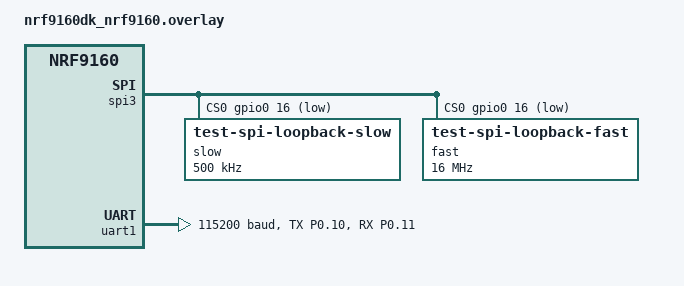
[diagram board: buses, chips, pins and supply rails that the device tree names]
/*
 * Copyright (c) 2022 Nordic Semiconductor ASA
 *
 * SPDX-License-Identifier: Apache-2.0
 */

&spi3 {
	overrun-character = <0x00>;
	cs-gpios = <&gpio0 16 GPIO_ACTIVE_LOW>;
	zephyr,pm-device-runtime-auto;

	slow@0 {
		compatible = "test-spi-loopback-slow";
		reg = <0>;
		spi-max-frequency = <500000>;
	};

	fast@0 {
		compatible = "test-spi-loopback-fast";
		reg = <0>;
		spi-max-frequency = <16000000>;
	};
};

&pinctrl {
	uart1_default_alt: uart1_default_alt {
		group1 {
			psels = <NRF_PSEL(UART_TX, 0, 10)>,
				<NRF_PSEL(UART_RX, 0, 11)>;
		};
	};
	uart1_sleep_alt: uart1_sleep_alt {
		group1 {
			psels = <NRF_PSEL(UART_TX, 0, 10)>,
				<NRF_PSEL(UART_RX, 0, 11)>;
			low-power-enable;
		};
	};
};

dut: &uart1 {
	current-speed = <115200>;
	compatible = "nordic,nrf-uarte";
	status = "okay";
	pinctrl-0 = <&uart1_default_alt>;
	pinctrl-1 = <&uart1_sleep_alt>;
	pinctrl-names = "default", "sleep";
};
